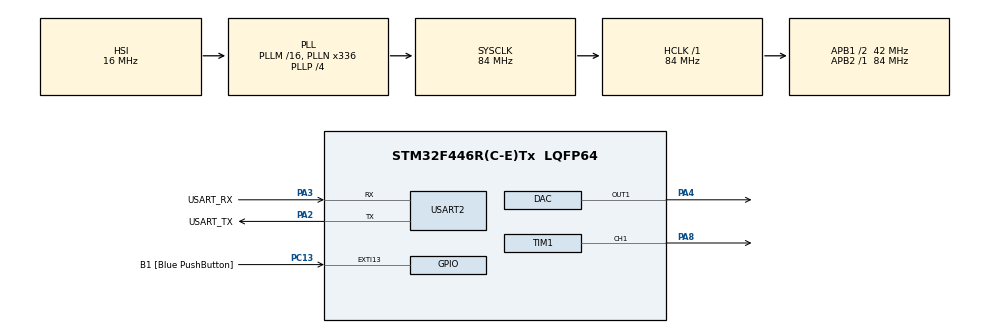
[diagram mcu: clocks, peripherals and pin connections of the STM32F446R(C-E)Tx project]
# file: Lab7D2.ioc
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DAC.DAC_Trigger=DAC_TRIGGER_T6_TRGO
Dma.DAC1.0.Direction=DMA_MEMORY_TO_PERIPH
Dma.DAC1.0.FIFOMode=DMA_FIFOMODE_DISABLE
Dma.DAC1.0.Instance=DMA1_Stream5
Dma.DAC1.0.MemDataAlignment=DMA_MDATAALIGN_WORD
Dma.DAC1.0.MemInc=DMA_MINC_ENABLE
Dma.DAC1.0.Mode=DMA_CIRCULAR
Dma.DAC1.0.PeriphDataAlignment=DMA_PDATAALIGN_WORD
Dma.DAC1.0.PeriphInc=DMA_PINC_DISABLE
Dma.DAC1.0.Priority=DMA_PRIORITY_LOW
Dma.Request0=DAC1
Mcu.Family=STM32F4
Mcu.Name=STM32F446R(C-E)Tx
Mcu.Package=LQFP64
NVIC.DMA1_Stream5_IRQn=true\:0\:0\:false\:false\:true\:false\:true\:true
NVIC.PriorityGroup=NVIC_PRIORITYGROUP_0
NVIC.USART2_IRQn=true\:0\:0\:false\:false\:true\:true\:true\:true
PA13.GPIO_Label=TMS
PA13.Mode=Serial_Wire
PA13.Signal=SYS_JTMS-SWDIO
PA14.GPIO_Label=TCK
PA14.Mode=Serial_Wire
PA14.Signal=SYS_JTCK-SWCLK
PA2.GPIO_Label=USART_TX
PA2.Mode=Asynchronous
PA2.Signal=USART2_TX
PA3.GPIO_Label=USART_RX
PA3.Mode=Asynchronous
PA3.Signal=USART2_RX
PA4.Signal=COMP_DAC1_group
PA8.Signal=S_TIM1_CH1
PB3.GPIO_Label=SWO
PB3.Signal=SYS_JTDO-SWO
PC13.GPIO_Label=B1 [Blue PushButton]
PC13.GPIO_ModeDefaultEXTI=GPIO_MODE_IT_FALLING
PC13.Signal=GPXTI13
PC14-OSC32_IN.Mode=LSE-External-Oscillator
PC14-OSC32_IN.Signal=RCC_OSC32_IN
PC15-OSC32_OUT.Mode=LSE-External-Oscillator
PC15-OSC32_OUT.Signal=RCC_OSC32_OUT
PH0-OSC_IN.Mode=HSE-External-Oscillator
PH0-OSC_IN.Signal=RCC_OSC_IN
PH1-OSC_OUT.Mode=HSE-External-Oscillator
PH1-OSC_OUT.Signal=RCC_OSC_OUT
ProjectManager.HeapSize=0x200
ProjectManager.StackSize=0x400
ProjectManager.TargetToolchain=STM32CubeIDE
RCC.48MHZClocksFreq_Value=84000000
RCC.AHBFreq_Value=84000000
RCC.APB1CLKDivider=RCC_HCLK_DIV2
RCC.APB1Freq_Value=42000000
RCC.APB1TimFreq_Value=84000000
RCC.APB2Freq_Value=84000000
RCC.APB2TimFreq_Value=84000000
RCC.CortexFreq_Value=84000000
RCC.FLatency-AdvancedSettings=FLASH_LATENCY_2
RCC.HCLKFreq_Value=84000000
RCC.HSE_VALUE=8000000
RCC.HSI_VALUE=16000000
RCC.PLLN=336
RCC.PLLP=RCC_PLLP_DIV4
RCC.SYSCLKFreq_VALUE=84000000
RCC.SYSCLKSource=RCC_SYSCLKSOURCE_PLLCLK
RCC.USBFreq_Value=168000000
RCC.VCOOutputFreq_Value=336000000
SH.COMP_DAC1_group.0=DAC_OUT1,DAC_OUT1
SH.S_TIM1_CH1.0=TIM1_CH1,PWM Generation1 CH1
TIM1.Channel-PWM\ Generation1\ CH1=TIM_CHANNEL_1
TIM1.Period=100-1
TIM1.Prescaler=0
TIM1.Pulse-PWM\ Generation1\ CH1=50
TIM6.Period=1000-1
TIM6.Prescaler=1
TIM6.TIM_MasterOutputTrigger=TIM_TRGO_UPDATE
USART2.VirtualMode=VM_ASYNC
VP_TIM1_VS_ClockSourceINT.Mode=Internal
VP_TIM6_VS_ClockSourceINT.Mode=Enable_Timer
board=NUCLEO-F446RE

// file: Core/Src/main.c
/* USER CODE BEGIN Header */
/**
  ******************************************************************************
  * @file           : main.c
  * @brief          : Main program body
  ******************************************************************************
  * @attention
  *
  * Copyright (c) 2026 STMicroelectronics.
  * All rights reserved.
  *
  * This software is licensed under terms that can be found in the LICENSE file
  * in the root directory of this software component.
  * If no LICENSE file comes with this software, it is provided AS-IS.
  *
  ******************************************************************************
  */
/* USER CODE END Header */
#include "main.h"

/* USER CODE BEGIN Includes */
#include "pitches.h"
#include "math.h"
#include <stdio.h>
#include <string.h>
/* USER CODE END Includes */

/* USER CODE BEGIN PD */
#define TIM_FREQ 84000000
#define VALOR_PERIODO 100
#define desd 128
#define PI 3.1415926
#define DAC_PSC 1
/* USER CODE END PD */

DAC_HandleTypeDef hdac;
DMA_HandleTypeDef hdma_dac1;

TIM_HandleTypeDef htim1;
TIM_HandleTypeDef htim6;

UART_HandleTypeDef huart2;

/* USER CODE BEGIN PV */
uint32_t Ysine[desd];

int notes[] = {NOTE_E7, NOTE_E7, 0, NOTE_E7, 0, NOTE_C7, NOTE_E7, 0, NOTE_G7, 0, 0, 0,
	    NOTE_G6, 0, 0, 0, NOTE_C7, 0, 0, NOTE_G6, 0, 0, NOTE_E6, 0, 0, NOTE_A6, 0, NOTE_B6,
	    0, NOTE_AS6, NOTE_A6, 0, NOTE_G6, NOTE_E7, NOTE_G7, NOTE_A7, 0, NOTE_F7, NOTE_G7,
	    0, NOTE_E7, 0, NOTE_C7, NOTE_D7, NOTE_B6, 0};
int durations[] = {150,150,150,150,150,150,150,150,300,150,150,150,300,150,150,150,
	    150,150,150,150,150,150,150,150,150,150,150,150,150,150,150,150,150,150,150,
	    150,150,150,150,150,150,150,150,150,300,150};

#define NOTE_G5  784
#define NOTE_A5  880
#define NOTE_B5  988
#define NOTE_C6  1047
#define NOTE_D6  1175
#define NOTE_E6  1319

// Arreglo de notas
int notes2[] = {
  // Frase 1
  NOTE_E5, NOTE_A5, NOTE_C6, NOTE_B5, NOTE_A5, NOTE_G5, NOTE_A5, 0,
  // Frase 2
  NOTE_E5, NOTE_A5, NOTE_C6, NOTE_B5, NOTE_C6, NOTE_E6, NOTE_E6, 0,
  // Frase 3
  NOTE_D6, NOTE_C6, NOTE_B5, NOTE_G5, NOTE_A5, NOTE_B5, NOTE_A5, 0,
  // Frase 4 (Final)
  NOTE_E5, NOTE_A5, NOTE_C6, NOTE_B5, NOTE_A5, NOTE_G5, NOTE_A5
};

// Duraciones exactas basadas en el video (en milisegundos)
int durations2[] = {
  // Frase 1: El inicio
  450, 450, 350, 150, 250, 250, 900, 150,
  // Frase 2: Sube la intensidad
  450, 450, 350, 150, 450, 450, 900, 150,
  // Frase 3: El puente triste
  450, 450, 350, 150, 450, 450, 900, 150,
  // Frase 4: Cierre
  450, 450, 350, 150, 250, 250, 1200
};
uint8_t dat = 0;
/* USER CODE END PV */

void SystemClock_Config(void);
static void MX_GPIO_Init(void);
static void MX_DMA_Init(void);
static void MX_TIM1_Init(void);
static void MX_USART2_UART_Init(void);
static void MX_DAC_Init(void);
static void MX_TIM6_Init(void);
/* USER CODE BEGIN PFP */
int presForFrequency(int frequency);
void playTone(int *tone, int *duration, int *pause, int size);
void playTonePRE(int *tone, int *duration, int *pause, int size);
void noTone(void);
void generarSin(void);
int calcularARR(int freq);
void playTone2(int *tone, int *duration, int *pause, int Nsize);
void noTone2(void);

/* USER CODE END PFP */

/* USER CODE BEGIN 0 */
void generarSin(void)
{
	for (int x = 0; x < desd; x++){
		Ysine[x] = ((sin(x*2*PI/desd)+1)*(4096/2));
	}
}

int calcularARR(int freq)
{
	if (freq == 0)
		return 0;
	int TF = desd * freq;
	return ((TIM_FREQ/((DAC_PSC+1)*TF))-1);
}

int presForFrequency(int frequency)
{
	if (frequency == 0)
	{
		return 0;
	}
	return ((TIM_FREQ / (VALOR_PERIODO * frequency)) -1 );
}

void playTone(int *tone, int *duration, int *pause, int size)
{
	for (int i = 0; i < size; i++)
	{
		int prescaler = presForFrequency(tone[i]); // Calcular el prescaler
		int dur = duration[i]; // Obtener la duración
		int pauseBetweenTones = 0;
		if (pause != NULL)
		{
			pauseBetweenTones = pause[i] - duration[i];
		}

		__HAL_TIM_SET_PRESCALER(&htim1, prescaler);
		HAL_Delay(dur); // Duración de la nota
		noTone(); // Pausa
		HAL_Delay(pauseBetweenTones); // Duración sin tono
	}
}
void playTone2(int *tone, int *duration, int *pause, int Nsize)
{
	for (int i = 0; i < Nsize; i++)
	{
		int valorARR = calcularARR(tone[i]); // Calcular el prescaler
		int dur = duration[i]; // Obtener la duración
		int pauseBetweenTones = 0;
		if (pause != NULL)
		{
			pauseBetweenTones = pause[i] - duration[i];
		}

		TIM6 -> ARR = valorARR;
		HAL_Delay(dur); // Duración de la nota
		noTone2(); // Pausa
		HAL_Delay(pauseBetweenTones); // Duración sin tono
	}

}

void playTonePRE(int *tone, int *duration, int *pause, int size)
{
	for (int i = 0; i < size; i++)
	{
		int prescaler = (tone[i]); // Calcular el prescaler
		int dur = duration[i]; // Obtener la duración
		int pauseBetweenTones = 0;
		if (pause != NULL)
		{
			pauseBetweenTones = pause[i] - duration[i];
		}

		__HAL_TIM_SET_PRESCALER(&htim1, prescaler);
		HAL_Delay(dur); // Duración de la nota
		noTone(); // Pausa
		HAL_Delay(pauseBetweenTones); // Duración sin tono
	}
}

void noTone (void)
{
	__HAL_TIM_SET_PRESCALER(&htim1, 0); // Prescaler 0
}
void noTone2(void)
{
	TIM6 -> ARR = 0;
}

/* USER CODE END 0 */

int main(void)
{

  /* MCU Configuration--------------------------------------------------------*/

  /* Reset of all peripherals, Initializes the Flash interface and the Systick. */
  HAL_Init();

  /* Configure the system clock */
  SystemClock_Config();

  /* Initialize all configured peripherals */
  MX_GPIO_Init();
  MX_DMA_Init();
  MX_TIM1_Init();
  MX_USART2_UART_Init();
  MX_DAC_Init();
  MX_TIM6_Init();
  /* USER CODE BEGIN 2 */
  //HAL_TIM_PWM_Start(&htim1, TIM_CHANNEL_1);
  //playTone(notes, durations, NULL, (sizeof(notes)/sizeof(durations[0])));
  /* USER CODE END 2 */

  /* Infinite loop */
  /* USER CODE BEGIN WHILE */
  HAL_TIM_PWM_Start(&htim1, TIM_CHANNEL_1);
  generarSin();

  HAL_DAC_Init(&hdac);
  HAL_TIM_Base_Start(&htim6);
  HAL_DAC_Start_DMA(&hdac, DAC_CHANNEL_1, Ysine, desd, DAC_ALIGN_12B_R);

  //playTone(notes, durations, NULL, (sizeof(notes)/sizeof(durations[0])));
  noTone();
  while (1)
  {
	  char menu[] = "Menu:\r\n 1. Reproducir primera melodía:\r\n 2. Reproducir segunda melodía\r\nSeleccione una opcion: ";
	       HAL_UART_Transmit(&huart2, (uint8_t*)menu, strlen(menu), 100);

	       // El programa se detiene aquí hasta que recibas 1 carácter
	       if (HAL_UART_Receive(&huart2, &dat, 1, HAL_MAX_DELAY) == HAL_OK)
	       {
	           // Enviamos de vuelta el carácter recibido (Echo)
	           HAL_UART_Transmit(&huart2, &dat, 1, 10);
	           HAL_UART_Transmit(&huart2, (uint8_t*)"\r\n", 2, 10);
	       }
	           if (dat == '1')
	           {
	               char msg[] = "Reproduciendo...\r\n";
	               HAL_UART_Transmit(&huart2, (uint8_t*)msg, strlen(msg), 100);

	               int size = sizeof(notes) / sizeof(notes[0]);
	               playTone(notes, durations, NULL, size);

	               char done[] = "Terminado.\r\n\r\n";
	               HAL_UART_Transmit(&huart2, (uint8_t*)done, strlen(done), 100);
	           }
	           else if (dat == '2')
	           {
	        	   char msg[] = "Reproduciendo...\r\n";
				   HAL_UART_Transmit(&huart2, (uint8_t*)msg, strlen(msg), 100);

				   int size = sizeof(notes2) / sizeof(notes2[0]);
				   playTone2(notes2, durations2, NULL, size);

				   char done[] = "Terminado.\r\n\r\n";
				   HAL_UART_Transmit(&huart2, (uint8_t*)done, strlen(done), 100);
	           }
	           else
	           {
	               char error[] = "Opcion no valida.\r\n\r\n";
	               HAL_UART_Transmit(&huart2, (uint8_t*)error, strlen(error), 100);
	           }
    /* USER CODE END WHILE */

  }
}

void SystemClock_Config(void)
{
  RCC_OscInitTypeDef RCC_OscInitStruct = {0};
  RCC_ClkInitTypeDef RCC_ClkInitStruct = {0};

  /** Configure the main internal regulator output voltage
  */
  __HAL_RCC_PWR_CLK_ENABLE();
  __HAL_PWR_VOLTAGESCALING_CONFIG(PWR_REGULATOR_VOLTAGE_SCALE3);

  /** Initializes the RCC Oscillators according to the specified parameters
  * in the RCC_OscInitTypeDef structure.
  */
  RCC_OscInitStruct.OscillatorType = RCC_OSCILLATORTYPE_HSI;
  RCC_OscInitStruct.HSIState = RCC_HSI_ON;
  RCC_OscInitStruct.HSICalibrationValue = RCC_HSICALIBRATION_DEFAULT;
  RCC_OscInitStruct.PLL.PLLState = RCC_PLL_ON;
  RCC_OscInitStruct.PLL.PLLSource = RCC_PLLSOURCE_HSI;
  RCC_OscInitStruct.PLL.PLLM = 16;
  RCC_OscInitStruct.PLL.PLLN = 336;
  RCC_OscInitStruct.PLL.PLLP = RCC_PLLP_DIV4;
  RCC_OscInitStruct.PLL.PLLQ = 2;
  RCC_OscInitStruct.PLL.PLLR = 2;
  if (HAL_RCC_OscConfig(&RCC_OscInitStruct) != HAL_OK)
  {
    Error_Handler();
  }

  /** Initializes the CPU, AHB and APB buses clocks
  */
  RCC_ClkInitStruct.ClockType = RCC_CLOCKTYPE_HCLK|RCC_CLOCKTYPE_SYSCLK
                              |RCC_CLOCKTYPE_PCLK1|RCC_CLOCKTYPE_PCLK2;
  RCC_ClkInitStruct.SYSCLKSource = RCC_SYSCLKSOURCE_PLLCLK;
  RCC_ClkInitStruct.AHBCLKDivider = RCC_SYSCLK_DIV1;
  RCC_ClkInitStruct.APB1CLKDivider = RCC_HCLK_DIV2;
  RCC_ClkInitStruct.APB2CLKDivider = RCC_HCLK_DIV1;

  if (HAL_RCC_ClockConfig(&RCC_ClkInitStruct, FLASH_LATENCY_2) != HAL_OK)
  {
    Error_Handler();
  }
}

static void MX_DAC_Init(void)
{

  DAC_ChannelConfTypeDef sConfig = {0};

  /** DAC Initialization
  */
  hdac.Instance = DAC;
  if (HAL_DAC_Init(&hdac) != HAL_OK)
  {
    Error_Handler();
  }

  /** DAC channel OUT1 config
  */
  sConfig.DAC_Trigger = DAC_TRIGGER_T6_TRGO;
  sConfig.DAC_OutputBuffer = DAC_OUTPUTBUFFER_ENABLE;
  if (HAL_DAC_ConfigChannel(&hdac, &sConfig, DAC_CHANNEL_1) != HAL_OK)
  {
    Error_Handler();
  }

}

static void MX_TIM1_Init(void)
{

  TIM_ClockConfigTypeDef sClockSourceConfig = {0};
  TIM_MasterConfigTypeDef sMasterConfig = {0};
  TIM_OC_InitTypeDef sConfigOC = {0};
  TIM_BreakDeadTimeConfigTypeDef sBreakDeadTimeConfig = {0};

  htim1.Instance = TIM1;
  htim1.Init.Prescaler = 0;
  htim1.Init.CounterMode = TIM_COUNTERMODE_UP;
  htim1.Init.Period = 100-1;
  htim1.Init.ClockDivision = TIM_CLOCKDIVISION_DIV1;
  htim1.Init.RepetitionCounter = 0;
  htim1.Init.AutoReloadPreload = TIM_AUTORELOAD_PRELOAD_DISABLE;
  if (HAL_TIM_Base_Init(&htim1) != HAL_OK)
  {
    Error_Handler();
  }
  sClockSourceConfig.ClockSource = TIM_CLOCKSOURCE_INTERNAL;
  if (HAL_TIM_ConfigClockSource(&htim1, &sClockSourceConfig) != HAL_OK)
  {
    Error_Handler();
  }
  if (HAL_TIM_PWM_Init(&htim1) != HAL_OK)
  {
    Error_Handler();
  }
  sMasterConfig.MasterOutputTrigger = TIM_TRGO_RESET;
  sMasterConfig.MasterSlaveMode = TIM_MASTERSLAVEMODE_DISABLE;
  if (HAL_TIMEx_MasterConfigSynchronization(&htim1, &sMasterConfig) != HAL_OK)
  {
    Error_Handler();
  }
  sConfigOC.OCMode = TIM_OCMODE_PWM1;
  sConfigOC.Pulse = 50;
  sConfigOC.OCPolarity = TIM_OCPOLARITY_HIGH;
  sConfigOC.OCNPolarity = TIM_OCNPOLARITY_HIGH;
  sConfigOC.OCFastMode = TIM_OCFAST_DISABLE;
  sConfigOC.OCIdleState = TIM_OCIDLESTATE_RESET;
  sConfigOC.OCNIdleState = TIM_OCNIDLESTATE_RESET;
  if (HAL_TIM_PWM_ConfigChannel(&htim1, &sConfigOC, TIM_CHANNEL_1) != HAL_OK)
  {
    Error_Handler();
  }
  sBreakDeadTimeConfig.OffStateRunMode = TIM_OSSR_DISABLE;
  sBreakDeadTimeConfig.OffStateIDLEMode = TIM_OSSI_DISABLE;
  sBreakDeadTimeConfig.LockLevel = TIM_LOCKLEVEL_OFF;
  sBreakDeadTimeConfig.DeadTime = 0;
  sBreakDeadTimeConfig.BreakState = TIM_BREAK_DISABLE;
  sBreakDeadTimeConfig.BreakPolarity = TIM_BREAKPOLARITY_HIGH;
  sBreakDeadTimeConfig.AutomaticOutput = TIM_AUTOMATICOUTPUT_DISABLE;
  if (HAL_TIMEx_ConfigBreakDeadTime(&htim1, &sBreakDeadTimeConfig) != HAL_OK)
  {
    Error_Handler();
  }
  HAL_TIM_MspPostInit(&htim1);

}

static void MX_TIM6_Init(void)
{

  TIM_MasterConfigTypeDef sMasterConfig = {0};

  htim6.Instance = TIM6;
  htim6.Init.Prescaler = 1;
  htim6.Init.CounterMode = TIM_COUNTERMODE_UP;
  htim6.Init.Period = 1000-1;
  htim6.Init.AutoReloadPreload = TIM_AUTORELOAD_PRELOAD_DISABLE;
  if (HAL_TIM_Base_Init(&htim6) != HAL_OK)
  {
    Error_Handler();
  }
  sMasterConfig.MasterOutputTrigger = TIM_TRGO_UPDATE;
  sMasterConfig.MasterSlaveMode = TIM_MASTERSLAVEMODE_DISABLE;
  if (HAL_TIMEx_MasterConfigSynchronization(&htim6, &sMasterConfig) != HAL_OK)
  {
    Error_Handler();
  }

}

static void MX_USART2_UART_Init(void)
{

  huart2.Instance = USART2;
  huart2.Init.BaudRate = 115200;
  huart2.Init.WordLength = UART_WORDLENGTH_8B;
  huart2.Init.StopBits = UART_STOPBITS_1;
  huart2.Init.Parity = UART_PARITY_NONE;
  huart2.Init.Mode = UART_MODE_TX_RX;
  huart2.Init.HwFlowCtl = UART_HWCONTROL_NONE;
  huart2.Init.OverSampling = UART_OVERSAMPLING_16;
  if (HAL_UART_Init(&huart2) != HAL_OK)
  {
    Error_Handler();
  }

}

static void MX_DMA_Init(void)
{

  /* DMA controller clock enable */
  __HAL_RCC_DMA1_CLK_ENABLE();

  /* DMA interrupt init */
  /* DMA1_Stream5_IRQn interrupt configuration */
  HAL_NVIC_SetPriority(DMA1_Stream5_IRQn, 0, 0);
  HAL_NVIC_EnableIRQ(DMA1_Stream5_IRQn);

}

static void MX_GPIO_Init(void)
{
  GPIO_InitTypeDef GPIO_InitStruct = {0};

  /* GPIO Ports Clock Enable */
  __HAL_RCC_GPIOC_CLK_ENABLE();
  __HAL_RCC_GPIOH_CLK_ENABLE();
  __HAL_RCC_GPIOA_CLK_ENABLE();
  __HAL_RCC_GPIOB_CLK_ENABLE();

  /*Configure GPIO pin : B1_Pin */
  GPIO_InitStruct.Pin = B1_Pin;
  GPIO_InitStruct.Mode = GPIO_MODE_IT_FALLING;
  GPIO_InitStruct.Pull = GPIO_NOPULL;
  HAL_GPIO_Init(B1_GPIO_Port, &GPIO_InitStruct);

}

void Error_Handler(void)
{
  __disable_irq();
  while (1)
  {
  }
}
